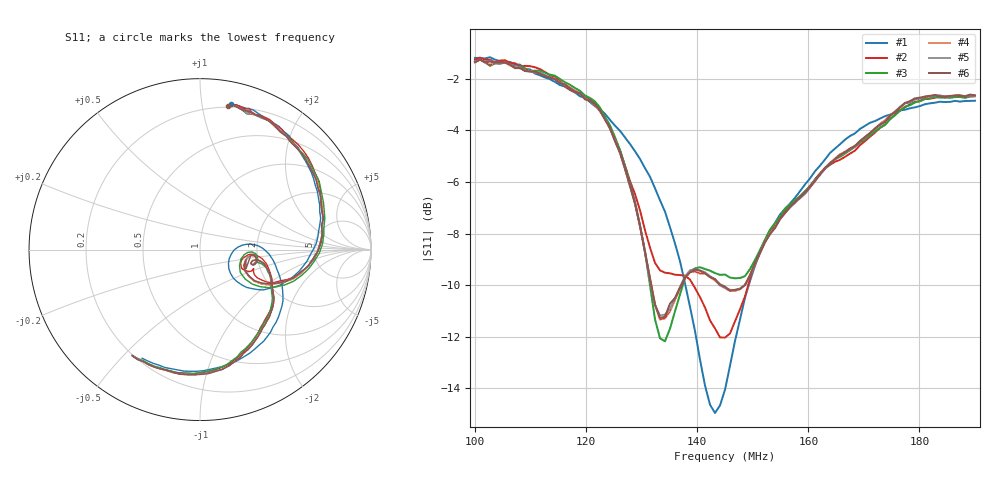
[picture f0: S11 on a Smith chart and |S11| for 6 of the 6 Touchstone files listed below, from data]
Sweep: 100 MHz to 190 MHz
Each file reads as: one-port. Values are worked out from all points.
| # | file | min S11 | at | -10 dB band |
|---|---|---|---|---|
| 1 | A_meas_1.s1p | -15.0 dB | 143.2 MHz | 11.41 MHz wide |
| 2 | A_meas_indoor1.s1p | -12.0 dB | 145 MHz | 9.876 MHz wide |
| 3 | A_meas_indoor2.s1p | -12.2 dB | 134.2 MHz | 5.914 MHz wide |
| 4 | A_meas_indoor3.s1p | -11.3 dB | 133.3 MHz | 5.449 MHz wide |
| 5 | A_meas_indoor4.s1p | -11.2 dB | 133.3 MHz | 5.366 MHz wide |
| 6 | A_meas_indoor5.s1p | -11.3 dB | 133.3 MHz | 5.401 MHz wide |
